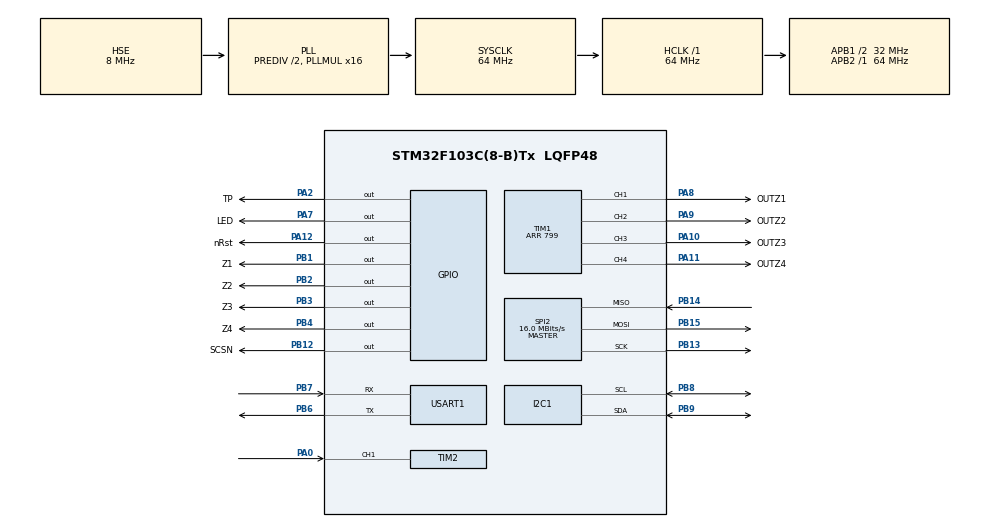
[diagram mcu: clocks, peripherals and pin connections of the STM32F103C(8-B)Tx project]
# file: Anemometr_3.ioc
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Mcu.Family=STM32F1
PA11.GPIO_Speed=GPIO_SPEED_FREQ_HIGH
SH.S_TIM1_CH4.0=TIM1_CH4,Output Compare4 CH4
VP_TIM1_VS_OPM.Mode=OPM_bit
TIM2.Channel-Input_Capture1_from_TI1=TIM_CHANNEL_1
SPI2.VirtualType=VM_MASTER
TIM1.RepetitionCounter=91
VP_TIM3_VS_OPM.Mode=OPM_bit
VP_IWDG_VS_IWDG.Mode=IWDG_Activate
PB15.Signal=SPI2_MOSI
PB13.Signal=SPI2_SCK
TIM4.TIM_MasterOutputTrigger=TIM_TRGO_UPDATE
RCC.SYSCLKSource=RCC_SYSCLKSOURCE_PLLCLK
ProjectManager.StackSize=0x400
PD1-OSC_OUT.Signal=RCC_OSC_OUT
VP_TIM2_VS_ClockSourceITR.Mode=TriggerSource_ITR2
TIM1.Channel-Output\ Compare2\ CH2=TIM_CHANNEL_2
PA12.Signal=GPIO_Output
SPI2.CLKPolarity=SPI_POLARITY_LOW
TIM2.ICPolarity_CH2=TIM_INPUTCHANNELPOLARITY_FALLING
RCC.HCLKFreq_Value=64000000
RCC.APB2TimFreq_Value=64000000
TIM3.Period=40000
PB6.Signal=USART1_TX
PB6.Mode=Asynchronous
TIM1.OC1Preload=ENABLE
RCC.AHBFreq_Value=64000000
SPI2.BaudRatePrescaler=SPI_BAUDRATEPRESCALER_2
PA12.PinState=GPIO_PIN_RESET
PB2.Signal=GPIO_Output
RCC.PLLMUL=RCC_PLL_MUL16
PB12.GPIO_Label=SCSN
PB14.Mode=Full_Duplex_Master
PB1.GPIO_Label=Z1
NVIC.TIM2_IRQn=true\:0\:0\:false\:false\:true\:true\:true
PA10.GPIO_Label=OUTZ3
SPI2.CalculateBaudRate=16.0 MBits/s
PB7.Signal=USART1_RX
PA8.Signal=S_TIM1_CH1
VP_TIM3_VS_ClockSourceITR.Mode=TriggerSource_ITR0
VP_TIM1_VS_ClockSourceINT.Mode=Internal
PB9.Signal=I2C1_SDA
Mcu.Package=LQFP48
PB1.Signal=GPIO_Output
SPI2.Mode=SPI_MODE_MASTER
TIM2.Channel-Input_Capture2_from_TI1=TIM_CHANNEL_2
RCC.EnbaleCSS=true
PA2.GPIO_Label=TP
PA10.Signal=S_TIM1_CH3
SPI2.CLKPhase=SPI_PHASE_1EDGE
PA10.GPIO_Speed=GPIO_SPEED_FREQ_HIGH
RCC.APB1TimFreq_Value=64000000
SPI2.Direction=SPI_DIRECTION_2LINES
TIM1.Period=799
PB13.Mode=Full_Duplex_Master
PA8.GPIO_Speed=GPIO_SPEED_FREQ_HIGH
VP_TIM3_VS_ClockSourceINT.Mode=Internal
TIM1.Channel-Output\ Compare3\ CH3=TIM_CHANNEL_3
PB4.Signal=GPIO_Output
PB3.GPIO_Label=Z3
RCC.PLLSourceVirtual=RCC_PLLSOURCE_HSE
TIM4.AutoReloadPreload=TIM_AUTORELOAD_PRELOAD_ENABLE
TIM3.Channel-Output\ Compare1\ No\ Output=TIM_CHANNEL_1
PD1-OSC_OUT.Mode=HSE-External-Oscillator
TIM1.OC4Preload=ENABLE
TIM3.AutoReloadPreload=TIM_AUTORELOAD_PRELOAD_ENABLE
TIM1.OCMode_4=TIM_OCMODE_TOGGLE
VP_TIM2_VS_ControllerModeReset.Mode=Reset Mode
TIM1.OCMode_3=TIM_OCMODE_TOGGLE
VP_TIM3_VS_ControllerModeTrigger.Mode=Trigger Mode
PA9.GPIO_Label=OUTZ2
TIM1.OCMode_2=TIM_OCMODE_TOGGLE
TIM1.OCMode_1=TIM_OCMODE_TOGGLE
TIM1.OC2Preload=ENABLE
PA11.GPIO_Label=OUTZ4
PD0-OSC_IN.Signal=RCC_OSC_IN
RCC.APB1CLKDivider=RCC_HCLK_DIV2
VP_SYS_VS_ND.Mode=No_Debug
PA12.GPIO_Label=nRst
PA0-WKUP.Signal=S_TIM2_CH1_ETR
TIM1.AutoReloadPreload=TIM_AUTORELOAD_PRELOAD_ENABLE
PA8.GPIO_Label=OUTZ1
SH.S_TIM1_CH1.0=TIM1_CH1,Output Compare1 CH1
ProjectManager.TargetToolchain=STM32CubeIDE
SPI2.CRCCalculation=SPI_CRCCALCULATION_DISABLE
PB9.Mode=I2C
PA9.Signal=S_TIM1_CH2
RCC.USBFreq_Value=64000000
TIM1.Channel-Output\ Compare4\ CH4=TIM_CHANNEL_4
TIM4.Prescaler=6
PD0-OSC_IN.Mode=HSE-External-Oscillator
PB14.Signal=SPI2_MISO
board=custom
VP_TIM3_VS_no_output1.Mode=Output Compare1 No Output
PB15.Mode=Full_Duplex_Master
NVIC.TIM3_IRQn=true\:0\:0\:false\:false\:true\:true\:true
TIM1.TIM_MasterOutputTrigger=TIM_TRGO_ENABLE
RCC.APB2Freq_Value=64000000
PB4.GPIO_Label=Z4
TIM3.OCMode_1=TIM_OCMODE_ACTIVE
SH.S_TIM1_CH2.0=TIM1_CH2,Output Compare2 CH2
VP_TIM2_VS_ClockSourceINT.Mode=Internal
Mcu.Name=STM32F103C(8-B)Tx
PA2.Signal=GPIO_Output
PB3.Signal=GPIO_Output
RCC.SYSCLKFreq_VALUE=64000000
PA7.GPIO_Label=LED
RCC.HSEDivPLL=RCC_HSE_PREDIV_DIV2
USART1.VirtualMode=VM_ASYNC
PB7.Mode=Asynchronous
SH.S_TIM2_CH1_ETR.1=TIM2_CH1,Input_Capture2_from_TI1
PA11.Signal=S_TIM1_CH4
SH.S_TIM2_CH1_ETR.0=TIM2_CH1,Input_Capture1_from_TI1
PB2.GPIO_Label=Z2
ProjectManager.HeapSize=0x200
TIM1.Channel-Output\ Compare1\ CH1=TIM_CHANNEL_1
SH.S_TIM1_CH3.0=TIM1_CH3,Output Compare3 CH3
VP_TIM4_VS_ClockSourceINT.Mode=Internal
NVIC.PriorityGroup=NVIC_PRIORITYGROUP_4
PB8.Mode=I2C
IWDG.Prescaler=IWDG_PRESCALER_256
PA9.GPIO_Speed=GPIO_SPEED_FREQ_HIGH
PB8.Signal=I2C1_SCL
TIM2.AutoReloadPreload=TIM_AUTORELOAD_PRELOAD_ENABLE
SPI2.DataSize=SPI_DATASIZE_8BIT
TIM3.TIM_MasterOutputTrigger=TIM_TRGO_OC1
NVIC.TIM4_IRQn=true\:0\:0\:false\:false\:true\:true\:true
RCC.APB1Freq_Value=32000000
PB12.Signal=GPIO_Output
TIM1.TIM_MasterSlaveMode=TIM_MASTERSLAVEMODE_DISABLE
PA7.Signal=GPIO_Output

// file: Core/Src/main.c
/* USER CODE BEGIN Header */
/**
  ******************************************************************************
  * @file           : main.c
  * @brief          : Main program body
  ******************************************************************************
  * @attention
  *
  * <h2><center>&copy; Copyright (c) 2022 STMicroelectronics.
  * All rights reserved.</center></h2>
  *
  * This software component is licensed by ST under BSD 3-Clause license,
  * the "License"; You may not use this file except in compliance with the
  * License. You may obtain a copy of the License at:
  *                        opensource.org/licenses/BSD-3-Clause
  *
  ******************************************************************************
  */
/* USER CODE END Header */
#include "main.h"

I2C_HandleTypeDef hi2c1;

IWDG_HandleTypeDef hiwdg;

SPI_HandleTypeDef hspi2;

TIM_HandleTypeDef htim1;
TIM_HandleTypeDef htim2;
TIM_HandleTypeDef htim3;
TIM_HandleTypeDef htim4;

UART_HandleTypeDef huart1;

/* USER CODE BEGIN PV */
HAL_StatusTypeDef	flash_ok;
char uart_buffer[10] = {0,};
char SndBuffer[200] = {0,};
wiz_NetInfo net_info = {
	.mac  = { MAC_ADDRESS },
	.dhcp = NETINFO_DHCP
};
uint32_t errCnt, errMin, errMax, err;
/* USER CODE END PV */

void SystemClock_Config(void);
static void MX_GPIO_Init(void);
static void MX_USART1_UART_Init(void);
static void MX_TIM1_Init(void);
static void MX_TIM4_Init(void);
static void MX_TIM3_Init(void);
static void MX_TIM2_Init(void);
static void MX_I2C1_Init(void);
static void MX_SPI2_Init(void);
static void MX_IWDG_Init(void);

/* USER CODE BEGIN 0 */
void rwFlash(uint8_t rwFlag) {
	uint32_t pageAdr = 0x800FC00; //.
	uint32_t magicKey;
	uint64_t dataForSave;
	magicKey = *(__IO uint32_t*) pageAdr;
	if ((magicKey != 0x12349876) || (rwFlag == 1)) { // rwFlag == 1 for wrtite data to flash
		magicKey = 0x12349876;
		if (rwFlag == 0) { // For first initial
			C_1 = CALIBRATE_START;
			C_3 = CALIBRATE_START;
			C_2 = CALIBRATE_START;
			C_4 = CALIBRATE_START;
			t0.f = 20.0;  /* Около комнатной температуры */
			DX1.f = 1;
			//DX2.f = 1;
			DY1.f = 1;
			//DY2.f = 1;
		}
		FLASH_EraseInitTypeDef EraseInitStruct;
		uint32_t PAGEError = 0;
		EraseInitStruct.TypeErase   = FLASH_TYPEERASE_PAGES;
		EraseInitStruct.PageAddress = pageAdr; //
		EraseInitStruct.NbPages     = 1;

		flash_ok = HAL_ERROR;
		// Unlock flash
		while(flash_ok != HAL_OK) {
		  flash_ok = HAL_FLASH_Unlock();
		}
		if (HAL_FLASHEx_Erase(&EraseInitStruct, &PAGEError) == HAL_OK) {
			dataForSave = (uint64_t) magicKey;
			flash_ok = HAL_ERROR;
			while(flash_ok != HAL_OK){
				flash_ok = HAL_FLASH_Program(FLASH_TYPEPROGRAM_DOUBLEWORD, pageAdr, dataForSave); // Write  magic key
			}
			dataForSave = (uint64_t) (C_1 | ((uint64_t) C_2 << 16) | ((uint64_t) C_3 << 32) | ((uint64_t) C_4 << 48));
			flash_ok = HAL_ERROR;
			while(flash_ok != HAL_OK){
				flash_ok = HAL_FLASH_Program(FLASH_TYPEPROGRAM_DOUBLEWORD, pageAdr + 16, dataForSave); // Write C_12 C_34 C_14 C_23
			}
			flash_ok = HAL_ERROR;
			while(flash_ok != HAL_OK){
				flash_ok = HAL_FLASH_Program(FLASH_TYPEPROGRAM_WORD, pageAdr + 24, DX1.u); // Write DX1
			}
			//flash_ok = HAL_ERROR;
			//while(flash_ok != HAL_OK){
			//	flash_ok = HAL_FLASH_Program(FLASH_TYPEPROGRAM_WORD, pageAdr + 28, DX2.u); // Write DX2
			//}
			flash_ok = HAL_ERROR;
			while(flash_ok != HAL_OK){
				flash_ok = HAL_FLASH_Program(FLASH_TYPEPROGRAM_WORD, pageAdr + 32, DY1.u); // Write DY1
			}
			flash_ok = HAL_ERROR;
			while(flash_ok != HAL_OK){
				flash_ok = HAL_FLASH_Program(FLASH_TYPEPROGRAM_WORD, pageAdr + 36, t0.u); // Сохраним температуру калибровки
			}
		}
		// Lock flash
		flash_ok = HAL_ERROR;
		while(flash_ok != HAL_OK){
			flash_ok = HAL_FLASH_Lock();
		}
	} else {
		/* Задержки измерения в каналах */
		C_1 = *(__IO uint16_t*) (pageAdr + 16);
		C_2 = *(__IO uint16_t*) (pageAdr + 18);
		C_3 = *(__IO uint16_t*) (pageAdr + 20);
		C_4 = *(__IO uint16_t*) (pageAdr + 22);
		/* Значения для температурной калибровки */
		C_Y = C_3;
		C_X = C_4;
		memset(SndBuffer, 0, sizeof(SndBuffer));
		sprintf(SndBuffer, "C_1: %5d, C_2: %5d, C_3: %5d, C_4: %5d  \r\n", C_1, C_2, C_3, C_4);
		HAL_UART_Transmit(&huart1, (uint8_t *) SndBuffer, sizeof(SndBuffer), 1000);

		/* Поправочные коэффициенты */
		DX1.u = *(__IO uint32_t*) (pageAdr + 24);
		//DX2.u = *(__IO uint32_t*) (pageAdr + 28);
		DY1.u = *(__IO uint32_t*) (pageAdr + 32);
		memset(SndBuffer, 0, sizeof(SndBuffer));
		sprintf(SndBuffer, "DX1: %7.6f, DY1: %7.6f \r\n", DX1.f, DY1.f);
		HAL_UART_Transmit(&huart1, (uint8_t *) SndBuffer, sizeof(SndBuffer), 1000);
		t0.u = *(__IO uint32_t*) (pageAdr + 36);	// Восстановим температуру калибровки
		if (t0.u == 0xffffffff) {  // Начальная температура не определена.
			t0.f = 20.0;
		}
		memset(SndBuffer, 0, sizeof(SndBuffer));
		sprintf(SndBuffer, "T0: %5.2f \r\n", t0.f);
		HAL_UART_Transmit(&huart1, (uint8_t *) SndBuffer, sizeof(SndBuffer), 1000);
	}
}

#ifdef ZABBIX_ENABLE

#ifdef ZABBIX_DEBUG
void UART_Printf(const char* fmt, ...) {
	char buff[256];
	va_list args;
	va_start(args, fmt);
	vsnprintf(buff, sizeof(buff), fmt, args);
	HAL_UART_Transmit(&huart1, (uint8_t*) buff, strlen(buff), HAL_MAX_DELAY);
	va_end(args);
}
#endif

void W5500_Select(void) {
	HAL_GPIO_WritePin(SCSN_GPIO_Port, SCSN_Pin, GPIO_PIN_RESET);
}

void W5500_Unselect(void) {
	HAL_GPIO_WritePin(SCSN_GPIO_Port, SCSN_Pin, GPIO_PIN_SET);
}

void W5500_ReadBuff(uint8_t* buff, uint16_t len) {
	HAL_SPI_Receive(&hspi2, buff, len, HAL_MAX_DELAY);
}

void W5500_WriteBuff(uint8_t* buff, uint16_t len) {
	HAL_SPI_Transmit(&hspi2, buff, len, HAL_MAX_DELAY);
}

uint8_t W5500_ReadByte(void) {
	uint8_t byte;
	W5500_ReadBuff(&byte, sizeof(byte));
	return byte;
}

void W5500_WriteByte(uint8_t byte) {
	W5500_WriteBuff(&byte, sizeof(byte));
}

volatile bool ip_assigned = false;

void Callback_IPAssigned(void) {
#ifdef ZABBIX_DEBUG
	UART_Printf("Callback: IP assigned! Leased time: %d sec\r\n", getDHCPLeasetime());
#endif
    ip_assigned = true;
}

void Callback_IPConflict(void) {
#ifdef ZABBIX_DEBUG
    UART_Printf("Callback: IP conflict!\r\n");
#endif
}

// 1K should be enough, see https://forum.wiznet.io/t/topic/1612/2
uint8_t dhcp_buffer[1024];
// 1K seems to be enough for this buffer as well
//uint8_t dns_buffer[1024];

/*
 * addr -- IP address zabbix server, dhcp option 224.
 * Settings for isc-dhcp-server:
 * 		option zabbix-server-ip code 224 = ip-address ;
 * 		option zabix-host-name code 225 = string ;
 * 		host anemometr {
 *      	hardware ethernet 00:11:22:33:44:xx;
 *      	fixed-address 192.168.1.24;
 *       	option zabbix-server-ip 192.168.1.6;
 *       	option zabix-host-name "Ed";
 * 		}
 *
 * key -- Zabbix key: {ALTIM_DIRECT, ALTIM_SPEED}
 *
 * value -- Float value of key.
*/
uint8_t sendToZabbix(uint8_t * addr, char * host, char * key, float value) {
#ifdef ZABBIX_DEBUG
    UART_Printf("Creating socket...\r\n");
#endif
    uint8_t tcp_socket = TCP_SOCKET;
    uint8_t code = socket(tcp_socket, Sn_MR_TCP, 10888, 0);
    if(code != tcp_socket) {
    	eternetErrorCount++;
	#ifdef ZABBIX_DEBUG
        UART_Printf("socket() failed, code = %d\r\n", code);
	#endif
        return(-1);
    } else {
    	eternetErrorCount = 0;
    }
#ifdef ZABBIX_DEBUG
    UART_Printf("Socket created, connecting...\r\n");
#endif
    code = connect(tcp_socket, addr, ZABBIXPORT);
    if(code != SOCK_OK) {
    	eternetErrorCount++;
	#ifdef ZABBIX_DEBUG
        UART_Printf("connect() failed, code = %d\r\n", code);
	#endif
        close(tcp_socket);
        return(-2);
    } else {
    	eternetErrorCount = 0;
    }
#ifdef ZABBIX_DEBUG
    UART_Printf("Connected, sending ZABBIX request...\r\n");
#endif
    {
    	char req[ZABBIXMAXLEN];
    	char str[ZABBIXMAXLEN - 13];
    	sprintf(str, "{\"request\":\"sender data\",\"data\":[{\"host\":\"%.20s\",\"key\":\"%s\",\"value\":\"%f\"}]}", host, key, value);
    	req[0] = 'Z';
    	req[1] = 'B';
		req[2] = 'X';
		req[3] = 'D';
		req[4] = 0x01;
		req[5] = strlen(str);
		req[6] = 0;
		req[7] = 0;
		req[8] = 0;
		req[9] = 0;
		req[10] = 0;
		req[11] = 0;
		req[12] = 0;
		strcpy(req + 13, str);
        //char req[] = "ZBXD\1\0\0\0\0\0\0\0\0{\"request\":\"sender data\",\"data\":[{\"host\":\"Ed\",\"key\":\"ALTIM_DIRECT\",\"value\":\"10\"}]}";
        uint8_t len = req[5] + 13;
        uint8_t* buff = (uint8_t*)&req;
        while(len > 0) {
		#ifdef ZABBIX_DEBUG
            UART_Printf("Sending %d bytes, data length %d bytes...\r\n", len, req[5]);
		#endif
            int32_t nbytes = send(tcp_socket, buff, len);
            if(nbytes <= 0) {
            	eternetErrorCount++;
			#ifdef ZABBIX_DEBUG
                UART_Printf("send() failed, %d returned\r\n", nbytes);
			#endif
                close(tcp_socket);
                return(-3);
            } else {
            	eternetErrorCount = 0;
            }
			#ifdef ZABBIX_DEBUG
            UART_Printf("%d b sent!\r\n", nbytes);
			#endif
            len -= nbytes;
        }
    }
    /* Read data from Zabbix */
	#ifdef ZABBIX_DEBUG
		UART_Printf("Read.\r\n");
		{
			char buff[32];
			for(;;) {
				int32_t nbytes = recv(tcp_socket, (uint8_t*)&buff, sizeof(buff)-1);
				if(nbytes == SOCKERR_SOCKSTATUS) {
					UART_Printf("\r\nDisconnect.\r\n");
					break;
				}

				if(nbytes <= 0) {
					UART_Printf("\r\nrecv() failed, %d\r\n", nbytes);
					break;
				}

				buff[nbytes] = '\0';
				UART_Printf("%s", buff);
			}
		}

		UART_Printf("Closing socket.\r\n");
	#endif
    close(tcp_socket);
    return(0);
}

void init_w5500() {
	#ifdef ZABBIX_DEBUG
    UART_Printf("\r\ninit() called!\r\n");
    UART_Printf("Registering W5500 callbacks...\r\n");
	#endif
    reg_wizchip_cs_cbfunc(W5500_Select, W5500_Unselect);
    reg_wizchip_spi_cbfunc(W5500_ReadByte, W5500_WriteByte);
    reg_wizchip_spiburst_cbfunc(W5500_ReadBuff, W5500_WriteBuff);
	#ifdef ZABBIX_DEBUG
    UART_Printf("Calling wizchip_init()...\r\n");
	#endif
    uint8_t rx_tx_buff_sizes[] = {2, 2, 2, 2, 2, 2, 2, 2};
    wizchip_init(rx_tx_buff_sizes, rx_tx_buff_sizes);
	#ifdef ZABBIX_DEBUG
    UART_Printf("Calling DHCP_init()...\r\n");
	#endif

    // set MAC address before using DHCP
    setSHAR(net_info.mac);
    DHCP_init(DHCP_SOCKET, dhcp_buffer);
	#ifdef ZABBIX_DEBUG
    UART_Printf("Registering DHCP callbacks...\r\n");
	#endif
    reg_dhcp_cbfunc(
        Callback_IPAssigned,
        Callback_IPAssigned,
        Callback_IPConflict
    );
	#ifdef ZABBIX_DEBUG
    UART_Printf("Calling DHCP_run()...\r\n");
	#endif
    // actually should be called in a loop, e.g. by timer
    uint32_t ctr = DHCP_TRY_CNT;
    while((!ip_assigned) && (ctr > 0)) {
        DHCP_run();
        ctr--;
        HAL_Delay(100);
        HAL_IWDG_Refresh(&hiwdg);
    }
    if(!ip_assigned) {
		#ifdef ZABBIX_DEBUG
        UART_Printf(DHCP_ERROR_ASSIGN);
		#endif
        NVIC_SystemReset();
        return;
    }

    getIPfromDHCP(net_info.ip);
    getGWfromDHCP(net_info.gw);
    getSNfromDHCP(net_info.sn);
    getZABBIXfromDHCP(net_info.zabbix);
    getHostNamefromDHCP(net_info.hostname);
    if (net_info.hostname[0] == '\0') {
    	sprintf(ZabbixHostName, "%s", ZABBIXAGHOST);
    } else {
    	sprintf(ZabbixHostName, "%s", net_info.hostname);
    }

    //uint8_t dns[4];
    //getDNSfromDHCP(dns);
	#ifdef ZABBIX_DEBUG
    UART_Printf("IP:  %d.%d.%d.%d\r\nGW:  %d.%d.%d.%d\r\nNet: %d.%d.%d.%d\r\nZabbix: %d.%d.%d.%d\r\nHostName:%s\r\n",
        net_info.ip[0], net_info.ip[1], net_info.ip[2], net_info.ip[3],
        net_info.gw[0], net_info.gw[1], net_info.gw[2], net_info.gw[3],
        net_info.sn[0], net_info.sn[1], net_info.sn[2], net_info.sn[3],
        net_info.zabbix[0], net_info.zabbix[1], net_info.zabbix[2], net_info.zabbix[3],
		ZabbixHostName
    );
    UART_Printf("Calling wizchip_setnetinfo()...\r\n");
	#endif
    wizchip_setnetinfo(&net_info);

}
#endif
/* USER CODE END 0 */

int main(void)
{

  /* MCU Configuration--------------------------------------------------------*/

  /* Reset of all peripherals, Initializes the Flash interface and the Systick. */
  HAL_Init();

  /* USER CODE BEGIN Init */
	sprintf(SndBuffer, "\r\nLow power: %s, WWD: %s, IWD: %s, Soft: %s, Pin: %s, Power: %s\r\n",
			(__HAL_RCC_GET_FLAG(RCC_FLAG_LPWRRST)) ? "Yes" : "No",
			(__HAL_RCC_GET_FLAG(RCC_FLAG_WWDGRST)) ? "Yes" : "No",
			(__HAL_RCC_GET_FLAG(RCC_FLAG_IWDGRST)) ? "Yes" : "No",
			(__HAL_RCC_GET_FLAG(RCC_FLAG_SFTRST)) ? "Yes" : "No",
			(__HAL_RCC_GET_FLAG(RCC_FLAG_PINRST)) ? "Yes" : "No",
			(__HAL_RCC_GET_FLAG(RCC_FLAG_PORRST)) ? "Yes" : "No");

  /* USER CODE END Init */

  /* Configure the system clock */
  SystemClock_Config();

  /* Initialize all configured peripherals */
  MX_GPIO_Init();
  MX_USART1_UART_Init();
  MX_TIM1_Init();
  MX_TIM4_Init();
  MX_TIM3_Init();
  MX_TIM2_Init();
  MX_I2C1_Init();
  MX_SPI2_Init();
  MX_IWDG_Init();
  /* USER CODE BEGIN 2 */
  HAL_GPIO_WritePin(LED_GPIO_Port, LED_Pin, GPIO_PIN_SET);
  readyFlag = TRUE;
  //sumCounter2 = 0;
  HAL_UART_Transmit(&huart1, (uint8_t *) SndBuffer, sizeof(SndBuffer), HAL_MAX_DELAY);
  HAL_UART_Transmit(&huart1, (uint8_t *) INIT_START_TEXT, sizeof(INIT_START_TEXT), HAL_MAX_DELAY);
#ifdef ZABBIX_ENABLE
  HAL_GPIO_WritePin(nRst_GPIO_Port, nRst_Pin, GPIO_PIN_RESET);	// Reset W5500
  HAL_GPIO_WritePin(nRst_GPIO_Port, nRst_Pin, GPIO_PIN_SET);
  HAL_GPIO_WritePin(SCSN_GPIO_Port, SCSN_Pin, GPIO_PIN_SET);
  HAL_UART_Transmit(&huart1, (uint8_t *) WAIT_W5500, sizeof(WAIT_W5500), HAL_MAX_DELAY);
  HAL_Delay(2000);
  init_w5500();
  HAL_UART_Transmit(&huart1, (uint8_t *) OK, sizeof(OK), HAL_MAX_DELAY);
  eternetErrorCount = 0;
#else
  HAL_GPIO_WritePin(nRst_GPIO_Port, nRst_Pin, GPIO_PIN_RESET);	// Reset W5500
#endif
#ifdef BME280_ENABLE
	  HAL_UART_Transmit(&huart1, (uint8_t *) WAIT_BME280, sizeof(WAIT_BME280), HAL_MAX_DELAY);
  BME280_Init();
  HAL_UART_Transmit(&huart1, (uint8_t *) OK, sizeof(OK), HAL_MAX_DELAY);
#endif

  rwFlash(0);		// Чтение параметров калибровки из Flash.

  /* Таймер задержки запуска измерения */
  receiversOff
  //C_13 = CALIBRATE_START;
  if (C_1 == 0) {
	  C_1 = CALIBRATE_START;
  }
  if (C_2 == 0) {
	  C_2 = CALIBRATE_START;
  }
  if (C_3 == 0) {
	  C_3 = CALIBRATE_START;
  }
  if (C_4 == 0) {
	  C_4 = CALIBRATE_START;
  }
  TIM3->ARR = C_3; 		// Коррекция для таймера запуска измерения Z13
  /*
   * calibrateMode == 0 -- Нормальный режим
   * calibrateMode > 0 -- Режим калибровки
   */
  calibrateMode = 0;
  test_flag = FALSE;
  Xsum = 0;
  Ysum = 0;
  Vmax = 0;
  firstTime = TRUE;
  currentMode = 0;
  STOP_CAPTURE
  TIM1->ARR = TIM1_PERIOD - 1;
  measCount = 0;
  /*
   *	Очистка массива результатов.
   */
  for (int ii = 0; ii < MEASSURE_COUNT; ii++) {
	  resul_arrayX1[ii] = 0;
	  resul_arrayY1[ii] = 0;
	  resul_arrayX2[ii] = 0;
	  resul_arrayY2[ii] = 0;
  }
  calibrate1 = FALSE;
  calibrate3 = FALSE;
  calibrate2 = FALSE;
  calibrate4 = FALSE;

  HAL_UART_Transmit(&huart1, (uint8_t *) INIT_FINISH_TEXT, sizeof(INIT_FINISH_TEXT), HAL_MAX_DELAY);

  HAL_TIM_Base_Start_IT(&htim3);
  HAL_TIM_Base_Start_IT(&htim4);
  /* USER CODE END 2 */

  /* Infinite loop */
  /* USER CODE BEGIN WHILE */
  V = 0;
  Xsum = 0;
  Ysum = 0;
  Vmaxfin = 0;
  Xmaxfin = 0;
  Ymaxfin = 0;
  HAL_GPIO_WritePin(LED_GPIO_Port, LED_Pin, GPIO_PIN_RESET);
  while (1) {
	  if (readyFlag) {
		  SysTick->CTRL |= SysTick_CTRL_ENABLE_Msk;  // Включение SysTick
		  HAL_IWDG_Refresh(&hiwdg);
		  readyFlag = FALSE;
		  if (calibrateMode > 0) {
			  /* Процедура калибровки */
			  if (( calibrate1 || /*calibrate3 ||*/ calibrate2 /*|| calibrate4*/ ) && (calibrateCount < CALIBRATE_MAX_COUNT)) {
				  memset(SndBuffer, 0, sizeof(SndBuffer));
				  if (test_flag) {
					  sprintf(SndBuffer, "Z13(%4.0f)-Z31(%4.0f):%5.0f, Z42(%4.0f)-Z24(%4.0f):%5.0f   \r",
							  resul_arrayY1[0], resul_arrayY2[0], resul_arrayY1[0] - resul_arrayY2[0] * DY1.f,
							  resul_arrayX1[0], resul_arrayX2[0], resul_arrayX1[0] - resul_arrayX2[0] * DX1.f);
				  } else {
					  sprintf(SndBuffer, "Z13:%5.0f, Z31:%5.0f, Z42:%5.0f, Z24:%5.0f   \r",
							  resul_arrayY1[0], resul_arrayY2[0], resul_arrayX1[0], resul_arrayX2[0]);
				  }
				  HAL_UART_Transmit(&huart1, (uint8_t *) SndBuffer, sizeof(SndBuffer), 1000);
				  if (! test_flag) {
					  /* Y1 */
					  if ( calibrate1 && (abs(resul_arrayY1[0] + resul_arrayY2[0] - (float) CALIBRATE_MAX_COUNT) > CALIBRATE_ACURACY) ) {
						  if (resul_arrayY1[0] + resul_arrayY2[0] > (float) CALIBRATE_MAX_COUNT) {
							  C_3++;
						  } else {
							  C_3--;
						  }
					  } else {
						  calibrate1 = FALSE;	// Закончена калибровка таймера запуска измерения в канале Y1
					  }
					  /* Y2 */
					  /*
					  if ( calibrate3 && (abs(resul_arrayY2[0] - (float) TIM1_PERIOD) > CALIBRATE_ACURACY) ) {
						  if (resul_arrayY2[0] > (float) TIM1_PERIOD) {
							  C_1++;
						  } else {
							  C_1--;
						  }
					  } else {
						  calibrate3 = FALSE;	// Закончена калибровка таймера запуска измерения в канале Y1
					  } */
					  /* X1 */
					  if ( calibrate2 && (abs(resul_arrayX1[0] + resul_arrayX2[0] - (float) CALIBRATE_MAX_COUNT) > CALIBRATE_ACURACY) ) {
						  if (resul_arrayX1[0] + resul_arrayX2[0] > (float) CALIBRATE_MAX_COUNT) {
							  C_4++;
						  } else {
							  C_4--;
						  }
					  } else {
						  calibrate2 = FALSE;	// Закончена калибровка таймера запуска измерения в канале Y2
					  }
					  /* X2 */
					  /*
					  if ( calibrate4 && (abs(resul_arrayX2[0] - (float) TIM1_PERIOD) > CALIBRATE_ACURACY) ) {
						  if (resul_arrayX2[0] > (float) TIM1_PERIOD) {
							  C_2++;
						  } else {
							  C_2--;
						  }
					  } else {
						  calibrate4 = FALSE;	// Закончена калибровка таймера запуска измерения в канале Y2
					  }*/
					  calibrateCount++;
				  }
				#ifdef SYSTICK_DISABLE
				  SysTick->CTRL &= ~SysTick_CTRL_ENABLE_Msk;  // Выключение SysTick
				#endif
				  HAL_TIM_Base_Start_IT(&htim4);  // Перезапуск для начала измерений
			  } else {
				  if (calibrateCount >= CALIBRATE_MAX_COUNT) {
					  HAL_UART_Transmit(&huart1, (uint8_t *) CALIBRATE_ERROR_TOUT, sizeof(CALIBRATE_ERROR_TOUT), 1000);
					  /* System restart if calibrate error. */
					  HAL_NVIC_SystemReset();
				  }
				  if (calibrateMode > 0) {
					  ZX1 = ZX1 + (float) resul_arrayX1[0];
					  ZX2 = ZX2 + (float) resul_arrayX2[0];
					  ZY1 = ZY1 + (float) resul_arrayY1[0];
					  ZY2 = ZY2 + (float) resul_arrayY2[0];
					  calibrateMode--;
					  if (calibrateMode == 0) {
						  /* Вычисление поправок */
						  DX1.f = ZX1 / ZX2;
						  DY1.f = ZY1 / ZY2;
						  if (abs(DX1.f) < 2 && abs(DY1.f) < 2) {
							#if defined(TMP117_ENABLE) || defined(BME280_ENABLE)
							  t0.f = temperature;
							#else
							  t0.f = 20.0;
							#endif
							  rwFlash(1);  // Запись данных калибровки во Flash.
							  /* Значения смещения для температурной калибровки */
							  C_Y = C_3;
							  C_X = C_4;
							  memset(SndBuffer, 0, sizeof(SndBuffer));
							  sprintf(SndBuffer, "\r\nCalibrate complite.\r\nC_1:%5d, C_3:%5d, C_2:%5d, C_4:%5d\r\n", C_1, C_3, C_2, C_4);
							  HAL_UART_Transmit(&huart1, (uint8_t *) SndBuffer, sizeof(SndBuffer), 1000);
							  memset(SndBuffer, 0, sizeof(SndBuffer));
							  sprintf(SndBuffer, "DY1:%5.4f, DX1:%5.4f\r\n", DY1.f, DX1.f);
							  HAL_UART_Transmit(&huart1, (uint8_t *) SndBuffer, sizeof(SndBuffer), 1000);
							  memset(SndBuffer, 0, sizeof(SndBuffer));
							  sprintf(SndBuffer, "T0:%5.2f \r\n\r\n", t0.f);
							  HAL_UART_Transmit(&huart1, (uint8_t *) SndBuffer, sizeof(SndBuffer), 1000);
						  } else {
							  HAL_UART_Transmit(&huart1, (uint8_t *) CALIBRATE_ERROR_RANGE, sizeof(CALIBRATE_ERROR_RANGE), 1000);
						  }
						  calibrateCount = 0;
						  firstTime = TRUE;
					  }
				  }
				#ifdef SYSTICK_DISABLE
				  SysTick->CTRL &= ~SysTick_CTRL_ENABLE_Msk;  // Выключение SysTick
				#endif
				  HAL_TIM_Base_Start_IT(&htim4);  // Перезапуск для начала измерений
			  }
		  } else {
			#ifdef TMP117_ENABLE
			  temperature = TMP117_get_Temperature(hi2c1);
			#endif
			#ifdef BME280_ENABLE
			  temperature = BME280_ReadTemperature();
			  pressure = BME280_ReadPressure() * 0.00750063755419211f; //0.00750063755419211
			  humidity = BME280_ReadHumidity();
			#endif
			  /*
			  memset(SndBuffer, 0, sizeof(SndBuffer));
			  for (int iii = 0; iii < MEASSURE_COUNT; iii++) {
				  sprintf(SndBuffer, "X3:%5.2f, X4:%5.2f                 \r\n", resul_arrayX3[iii], resul_arrayX4[iii]);
				  HAL_UART_Transmit(&huart1, (uint8_t *) SndBuffer, sizeof(SndBuffer), 1000);
			  }*/
				#if defined(TMP117_ENABLE) || defined(BME280_ENABLE)
			  	  if ((temperature < 60.0) && (temperature > -40.0)) {
					#ifdef ZABBIX_ENABLE
			  		  sendToZabbix(net_info.zabbix, ZabbixHostName, "ALTIM_TEMPERATURE", temperature);
					#ifdef BME280_ENABLE
					  sendToZabbix(net_info.zabbix, ZabbixHostName, "ALTIM_PRESSURE", pressure);
					  sendToZabbix(net_info.zabbix, ZabbixHostName, "ALTIM_HUMIDITY", humidity);
					#endif
					#endif
			  	  } else {
					#ifdef BME280_ENABLE
			  		HAL_I2C_DeInit(&hi2c1);
			  		MX_I2C1_Init();
			  		BME280_Init();  // Сбой датчика bme280, пробуем исправить.
					#endif
			  	  }
				#endif
			  if (! firstTime) {
				#ifdef ZABBIX_ENABLE
				  if (eternetErrorCount > MAX_ETH_ERROR) {
					  HAL_NVIC_SystemReset(); /* Eternet не отвечает, перезапуск */
				  }
				  if ( V != 0 ) {
					  if ((V < MAX_SPD) && (Vmaxfin < MAX_SPD) ) {  // Первый раз пропускаем для инициализации переменных.
						  sendToZabbix(net_info.zabbix, ZabbixHostName, "ALTIM_SPEED", V);
						  sendToZabbix(net_info.zabbix, ZabbixHostName, "ALTIM_DIRECT", A);
						  sendToZabbix(net_info.zabbix, ZabbixHostName, "ALTIM_MAXSPEED", Vmaxfin);
					  }
				  } else {
					  if ((Vmaxfin < MAX_SPD) ) {
						  sendToZabbix(net_info.zabbix, ZabbixHostName, "ALTIM_SPEED", 0);
						  sendToZabbix(net_info.zabbix, ZabbixHostName, "ALTIM_MAXSPEED", Vmaxfin);
					  }
				  }
				  /* Мониторинг исходных значений */
				#ifdef ZABBIX_RAW_DATA
				  sendToZabbix(net_info.zabbix, ZabbixHostName, "X1", avg_X1);
				  sendToZabbix(net_info.zabbix, ZabbixHostName, "X2", avg_X2);
				  sendToZabbix(net_info.zabbix, ZabbixHostName, "Y1", avg_Y1);
				  sendToZabbix(net_info.zabbix, ZabbixHostName, "Y2", avg_Y2);
				  sendToZabbix(net_info.zabbix, ZabbixHostName, "CX", C_4 - C_X);
				  sendToZabbix(net_info.zabbix, ZabbixHostName, "CY", C_3 - C_Y);
				#endif
				#endif
				  sprintf(SndBuffer, "V:%5.2f, X:%5.2f, Y:%5.2f, Vmax:%5.2f, Xmax:%5.2f, Ymax:%5.2f, A:%3.0f, T:%5.2f, P:%8.3f, H:%5.2f, X1:%4.0f, X2:%4.0f, Y1:%4.0f, Y2:%4.0f, CX:%4d, CY:%4d   \r",
						  V, Xsum, Ysum, Vmaxfin, Xmaxfin, Ymaxfin, A, temperature, pressure, humidity, avg_X1, avg_X2, avg_Y1, avg_Y2, C_4 - C_X, C_3 - C_Y);
				  HAL_UART_Transmit(&huart1, (uint8_t *) SndBuffer, sizeof(SndBuffer), 1000);
			  }
			  firstTime = FALSE;
				#ifdef SYSTICK_DISABLE
				  SysTick->CTRL &= ~SysTick_CTRL_ENABLE_Msk;  // Выключение SysTick
				#endif
			  HAL_TIM_Base_Start_IT(&htim4);  // Перезапуск для начала измерений
		  }
	  }

	  /*
	   * Подготовка запуска процедуры калибровки
	   */
	  if(HAL_UART_Receive(&huart1, (uint8_t *) uart_buffer, 1, 10) ) {
		  if (uart_buffer[0] == 'c' ) {  // Клавиша c нажата ?
			  HAL_UART_Transmit(&huart1, (uint8_t *) CALIBRATE_TEXT, sizeof(CALIBRATE_TEXT), 1000);
			  HAL_TIM_Base_Stop_IT(&htim4); // Остановим измерения
			  STOP_CAPTURE
			  memset(SndBuffer, 0, sizeof(SndBuffer));
			  calibrate1 = TRUE;
			  calibrate3 = TRUE;
			  calibrate2 = TRUE;
			  calibrate4 = TRUE;
			  test_flag = FALSE;
			  calibrateCount = 0;
			  C_1 = CALIBRATE_START;
			  C_3 = CALIBRATE_START;
			  C_2 = CALIBRATE_START;
			  C_4 = CALIBRATE_START;
			  ZX1 = 0;
			  ZX2 = 0;
			  ZY1 = 0;
			  ZY2 = 0;
			  DX1.f = 0;
			  DY1.f = 0;
			  test_cnt = 0;
			  calibrateMode = MEASSURE_COUNT * CALIBRATE_TIMES;
			  currentMode = 0;
			  measCount = 0;
			  HAL_TIM_Base_Start_IT(&htim4); // Запуск измерения
		  } else {
			  if (uart_buffer[0] == 't' ) {		// Test
				  HAL_TIM_Base_Stop_IT(&htim4); // Остановим измерения
				  STOP_CAPTURE
				  HAL_UART_Transmit(&huart1, (uint8_t *) TEST_TEXT, sizeof(TEST_TEXT), 1000);
				  calibrateMode = 1;
				  calibrateCount = 0;
				  test_flag = TRUE;
				  calibrate1 = TRUE;
				  calibrate3 = TRUE;
				  calibrate2 = TRUE;
				  calibrate4 = TRUE;
				  measCount = 0;
				  HAL_TIM_Base_Start_IT(&htim4); // Запуск измерения
			  } else {
				  if (uart_buffer[0] == 'r' ) {		// Terminate calibration && test
					  HAL_TIM_Base_Stop_IT(&htim4); // Остановим измерения
					  STOP_CAPTURE
					  HAL_UART_Transmit(&huart1, (uint8_t *) TEST_TERMINATE, sizeof(TEST_TERMINATE), 1000);
					  test_flag = 0;
					  calibrate1 = TRUE;
					  calibrate3 = TRUE;
					  calibrate2 = TRUE;
					  calibrate4 = TRUE;
					  calibrateMode = 0;
					  calibrateCount = 0;
					  measCount = 0;
					  rwFlash(0);		// Чтение параметров калибровки из Flash.
					  HAL_TIM_Base_Start_IT(&htim4); // Запуск измерения
				  }
			  }
		  }
		  uart_buffer[0] = 0x00;
	  }

    /* USER CODE END WHILE */

  }
}

void SystemClock_Config(void)
{
  RCC_OscInitTypeDef RCC_OscInitStruct = {0};
  RCC_ClkInitTypeDef RCC_ClkInitStruct = {0};

  /** Initializes the RCC Oscillators according to the specified parameters
  * in the RCC_OscInitTypeDef structure.
  */
  RCC_OscInitStruct.OscillatorType = RCC_OSCILLATORTYPE_LSI|RCC_OSCILLATORTYPE_HSE;
  RCC_OscInitStruct.HSEState = RCC_HSE_ON;
  RCC_OscInitStruct.HSEPredivValue = RCC_HSE_PREDIV_DIV2;
  RCC_OscInitStruct.HSIState = RCC_HSI_ON;
  RCC_OscInitStruct.LSIState = RCC_LSI_ON;
  RCC_OscInitStruct.PLL.PLLState = RCC_PLL_ON;
  RCC_OscInitStruct.PLL.PLLSource = RCC_PLLSOURCE_HSE;
  RCC_OscInitStruct.PLL.PLLMUL = RCC_PLL_MUL16;
  if (HAL_RCC_OscConfig(&RCC_OscInitStruct) != HAL_OK)
  {
    Error_Handler();
  }
  /** Initializes the CPU, AHB and APB buses clocks
  */
  RCC_ClkInitStruct.ClockType = RCC_CLOCKTYPE_HCLK|RCC_CLOCKTYPE_SYSCLK
                              |RCC_CLOCKTYPE_PCLK1|RCC_CLOCKTYPE_PCLK2;
  RCC_ClkInitStruct.SYSCLKSource = RCC_SYSCLKSOURCE_PLLCLK;
  RCC_ClkInitStruct.AHBCLKDivider = RCC_SYSCLK_DIV1;
  RCC_ClkInitStruct.APB1CLKDivider = RCC_HCLK_DIV2;
  RCC_ClkInitStruct.APB2CLKDivider = RCC_HCLK_DIV1;

  if (HAL_RCC_ClockConfig(&RCC_ClkInitStruct, FLASH_LATENCY_2) != HAL_OK)
  {
    Error_Handler();
  }
  /** Enables the Clock Security System
  */
  HAL_RCC_EnableCSS();
}

static void MX_I2C1_Init(void)
{

  hi2c1.Instance = I2C1;
  hi2c1.Init.ClockSpeed = 100000;
  hi2c1.Init.DutyCycle = I2C_DUTYCYCLE_2;
  hi2c1.Init.OwnAddress1 = 0;
  hi2c1.Init.AddressingMode = I2C_ADDRESSINGMODE_7BIT;
  hi2c1.Init.DualAddressMode = I2C_DUALADDRESS_DISABLE;
  hi2c1.Init.OwnAddress2 = 0;
  hi2c1.Init.GeneralCallMode = I2C_GENERALCALL_DISABLE;
  hi2c1.Init.NoStretchMode = I2C_NOSTRETCH_DISABLE;
  if (HAL_I2C_Init(&hi2c1) != HAL_OK)
  {
    Error_Handler();
  }

}

static void MX_IWDG_Init(void)
{

  hiwdg.Instance = IWDG;
  hiwdg.Init.Prescaler = IWDG_PRESCALER_256;
  hiwdg.Init.Reload = 4095;
  if (HAL_IWDG_Init(&hiwdg) != HAL_OK)
  {
    Error_Handler();
  }

}

static void MX_SPI2_Init(void)
{

  /* SPI2 parameter configuration*/
  hspi2.Instance = SPI2;
  hspi2.Init.Mode = SPI_MODE_MASTER;
  hspi2.Init.Direction = SPI_DIRECTION_2LINES;
  hspi2.Init.DataSize = SPI_DATASIZE_8BIT;
  hspi2.Init.CLKPolarity = SPI_POLARITY_LOW;
  hspi2.Init.CLKPhase = SPI_PHASE_1EDGE;
  hspi2.Init.NSS = SPI_NSS_SOFT;
  hspi2.Init.BaudRatePrescaler = SPI_BAUDRATEPRESCALER_2;
  hspi2.Init.FirstBit = SPI_FIRSTBIT_MSB;
  hspi2.Init.TIMode = SPI_TIMODE_DISABLE;
  hspi2.Init.CRCCalculation = SPI_CRCCALCULATION_DISABLE;
  hspi2.Init.CRCPolynomial = 10;
  if (HAL_SPI_Init(&hspi2) != HAL_OK)
  {
    Error_Handler();
  }

}

static void MX_TIM1_Init(void)
{

  TIM_ClockConfigTypeDef sClockSourceConfig = {0};
  TIM_MasterConfigTypeDef sMasterConfig = {0};
  TIM_OC_InitTypeDef sConfigOC = {0};
  TIM_BreakDeadTimeConfigTypeDef sBreakDeadTimeConfig = {0};

  htim1.Instance = TIM1;
  htim1.Init.Prescaler = 0;
  htim1.Init.CounterMode = TIM_COUNTERMODE_UP;
  htim1.Init.Period = 799;
  htim1.Init.ClockDivision = TIM_CLOCKDIVISION_DIV1;
  htim1.Init.RepetitionCounter = 91;
  htim1.Init.AutoReloadPreload = TIM_AUTORELOAD_PRELOAD_ENABLE;
  if (HAL_TIM_Base_Init(&htim1) != HAL_OK)
  {
    Error_Handler();
  }
  sClockSourceConfig.ClockSource = TIM_CLOCKSOURCE_INTERNAL;
  if (HAL_TIM_ConfigClockSource(&htim1, &sClockSourceConfig) != HAL_OK)
  {
    Error_Handler();
  }
  if (HAL_TIM_OC_Init(&htim1) != HAL_OK)
  {
    Error_Handler();
  }
  if (HAL_TIM_OnePulse_Init(&htim1, TIM_OPMODE_SINGLE) != HAL_OK)
  {
    Error_Handler();
  }
  sMasterConfig.MasterOutputTrigger = TIM_TRGO_ENABLE;
  sMasterConfig.MasterSlaveMode = TIM_MASTERSLAVEMODE_DISABLE;
  if (HAL_TIMEx_MasterConfigSynchronization(&htim1, &sMasterConfig) != HAL_OK)
  {
    Error_Handler();
  }
  sConfigOC.OCMode = TIM_OCMODE_TOGGLE;
  sConfigOC.Pulse = 0;
  sConfigOC.OCPolarity = TIM_OCPOLARITY_HIGH;
  sConfigOC.OCNPolarity = TIM_OCNPOLARITY_HIGH;
  sConfigOC.OCFastMode = TIM_OCFAST_DISABLE;
  sConfigOC.OCIdleState = TIM_OCIDLESTATE_RESET;
  sConfigOC.OCNIdleState = TIM_OCNIDLESTATE_RESET;
  if (HAL_TIM_OC_ConfigChannel(&htim1, &sConfigOC, TIM_CHANNEL_1) != HAL_OK)
  {
    Error_Handler();
  }
  __HAL_TIM_ENABLE_OCxPRELOAD(&htim1, TIM_CHANNEL_1);
  if (HAL_TIM_OC_ConfigChannel(&htim1, &sConfigOC, TIM_CHANNEL_2) != HAL_OK)
  {
    Error_Handler();
  }
  __HAL_TIM_ENABLE_OCxPRELOAD(&htim1, TIM_CHANNEL_2);
  if (HAL_TIM_OC_ConfigChannel(&htim1, &sConfigOC, TIM_CHANNEL_3) != HAL_OK)
  {
    Error_Handler();
  }
  if (HAL_TIM_OC_ConfigChannel(&htim1, &sConfigOC, TIM_CHANNEL_4) != HAL_OK)
  {
    Error_Handler();
  }
  __HAL_TIM_ENABLE_OCxPRELOAD(&htim1, TIM_CHANNEL_4);
  sBreakDeadTimeConfig.OffStateRunMode = TIM_OSSR_DISABLE;
  sBreakDeadTimeConfig.OffStateIDLEMode = TIM_OSSI_DISABLE;
  sBreakDeadTimeConfig.LockLevel = TIM_LOCKLEVEL_OFF;
  sBreakDeadTimeConfig.DeadTime = 0;
  sBreakDeadTimeConfig.BreakState = TIM_BREAK_DISABLE;
  sBreakDeadTimeConfig.BreakPolarity = TIM_BREAKPOLARITY_HIGH;
  sBreakDeadTimeConfig.AutomaticOutput = TIM_AUTOMATICOUTPUT_DISABLE;
  if (HAL_TIMEx_ConfigBreakDeadTime(&htim1, &sBreakDeadTimeConfig) != HAL_OK)
  {
    Error_Handler();
  }
  HAL_TIM_MspPostInit(&htim1);

}

static void MX_TIM2_Init(void)
{

  TIM_ClockConfigTypeDef sClockSourceConfig = {0};
  TIM_SlaveConfigTypeDef sSlaveConfig = {0};
  TIM_MasterConfigTypeDef sMasterConfig = {0};
  TIM_IC_InitTypeDef sConfigIC = {0};

  htim2.Instance = TIM2;
  htim2.Init.Prescaler = 0;
  htim2.Init.CounterMode = TIM_COUNTERMODE_UP;
  htim2.Init.Period = 65535;
  htim2.Init.ClockDivision = TIM_CLOCKDIVISION_DIV1;
  htim2.Init.AutoReloadPreload = TIM_AUTORELOAD_PRELOAD_ENABLE;
  if (HAL_TIM_Base_Init(&htim2) != HAL_OK)
  {
    Error_Handler();
  }
  sClockSourceConfig.ClockSource = TIM_CLOCKSOURCE_INTERNAL;
  if (HAL_TIM_ConfigClockSource(&htim2, &sClockSourceConfig) != HAL_OK)
  {
    Error_Handler();
  }
  if (HAL_TIM_IC_Init(&htim2) != HAL_OK)
  {
    Error_Handler();
  }
  sSlaveConfig.SlaveMode = TIM_SLAVEMODE_RESET;
  sSlaveConfig.InputTrigger = TIM_TS_ITR2;
  if (HAL_TIM_SlaveConfigSynchro(&htim2, &sSlaveConfig) != HAL_OK)
  {
    Error_Handler();
  }
  sMasterConfig.MasterOutputTrigger = TIM_TRGO_RESET;
  sMasterConfig.MasterSlaveMode = TIM_MASTERSLAVEMODE_DISABLE;
  if (HAL_TIMEx_MasterConfigSynchronization(&htim2, &sMasterConfig) != HAL_OK)
  {
    Error_Handler();
  }
  sConfigIC.ICPolarity = TIM_INPUTCHANNELPOLARITY_RISING;
  sConfigIC.ICSelection = TIM_ICSELECTION_DIRECTTI;
  sConfigIC.ICPrescaler = TIM_ICPSC_DIV1;
  sConfigIC.ICFilter = 0;
  if (HAL_TIM_IC_ConfigChannel(&htim2, &sConfigIC, TIM_CHANNEL_1) != HAL_OK)
  {
    Error_Handler();
  }
  sConfigIC.ICPolarity = TIM_INPUTCHANNELPOLARITY_FALLING;
  sConfigIC.ICSelection = TIM_ICSELECTION_INDIRECTTI;
  if (HAL_TIM_IC_ConfigChannel(&htim2, &sConfigIC, TIM_CHANNEL_2) != HAL_OK)
  {
    Error_Handler();
  }

}

static void MX_TIM3_Init(void)
{

  TIM_ClockConfigTypeDef sClockSourceConfig = {0};
  TIM_SlaveConfigTypeDef sSlaveConfig = {0};
  TIM_MasterConfigTypeDef sMasterConfig = {0};
  TIM_OC_InitTypeDef sConfigOC = {0};

  htim3.Instance = TIM3;
  htim3.Init.Prescaler = 0;
  htim3.Init.CounterMode = TIM_COUNTERMODE_UP;
  htim3.Init.Period = 40000;
  htim3.Init.ClockDivision = TIM_CLOCKDIVISION_DIV1;
  htim3.Init.AutoReloadPreload = TIM_AUTORELOAD_PRELOAD_ENABLE;
  if (HAL_TIM_Base_Init(&htim3) != HAL_OK)
  {
    Error_Handler();
  }
  sClockSourceConfig.ClockSource = TIM_CLOCKSOURCE_INTERNAL;
  if (HAL_TIM_ConfigClockSource(&htim3, &sClockSourceConfig) != HAL_OK)
  {
    Error_Handler();
  }
  if (HAL_TIM_OC_Init(&htim3) != HAL_OK)
  {
    Error_Handler();
  }
  if (HAL_TIM_OnePulse_Init(&htim3, TIM_OPMODE_SINGLE) != HAL_OK)
  {
    Error_Handler();
  }
  sSlaveConfig.SlaveMode = TIM_SLAVEMODE_TRIGGER;
  sSlaveConfig.InputTrigger = TIM_TS_ITR0;
  if (HAL_TIM_SlaveConfigSynchro(&htim3, &sSlaveConfig) != HAL_OK)
  {
    Error_Handler();
  }
  sMasterConfig.MasterOutputTrigger = TIM_TRGO_OC1;
  sMasterConfig.MasterSlaveMode = TIM_MASTERSLAVEMODE_DISABLE;
  if (HAL_TIMEx_MasterConfigSynchronization(&htim3, &sMasterConfig) != HAL_OK)
  {
    Error_Handler();
  }
  sConfigOC.OCMode = TIM_OCMODE_ACTIVE;
  sConfigOC.Pulse = 0;
  sConfigOC.OCPolarity = TIM_OCPOLARITY_HIGH;
  sConfigOC.OCFastMode = TIM_OCFAST_DISABLE;
  if (HAL_TIM_OC_ConfigChannel(&htim3, &sConfigOC, TIM_CHANNEL_1) != HAL_OK)
  {
    Error_Handler();
  }

}

static void MX_TIM4_Init(void)
{

  TIM_ClockConfigTypeDef sClockSourceConfig = {0};
  TIM_MasterConfigTypeDef sMasterConfig = {0};

  htim4.Instance = TIM4;
  htim4.Init.Prescaler = 6;
  htim4.Init.CounterMode = TIM_COUNTERMODE_UP;
  htim4.Init.Period = 65535;
  htim4.Init.ClockDivision = TIM_CLOCKDIVISION_DIV1;
  htim4.Init.AutoReloadPreload = TIM_AUTORELOAD_PRELOAD_ENABLE;
  if (HAL_TIM_Base_Init(&htim4) != HAL_OK)
  {
    Error_Handler();
  }
  sClockSourceConfig.ClockSource = TIM_CLOCKSOURCE_INTERNAL;
  if (HAL_TIM_ConfigClockSource(&htim4, &sClockSourceConfig) != HAL_OK)
  {
    Error_Handler();
  }
  sMasterConfig.MasterOutputTrigger = TIM_TRGO_UPDATE;
  sMasterConfig.MasterSlaveMode = TIM_MASTERSLAVEMODE_DISABLE;
  if (HAL_TIMEx_MasterConfigSynchronization(&htim4, &sMasterConfig) != HAL_OK)
  {
    Error_Handler();
  }

}

static void MX_USART1_UART_Init(void)
{

  huart1.Instance = USART1;
  huart1.Init.BaudRate = 115200;
  huart1.Init.WordLength = UART_WORDLENGTH_8B;
  huart1.Init.StopBits = UART_STOPBITS_1;
  huart1.Init.Parity = UART_PARITY_NONE;
  huart1.Init.Mode = UART_MODE_TX_RX;
  huart1.Init.HwFlowCtl = UART_HWCONTROL_NONE;
  huart1.Init.OverSampling = UART_OVERSAMPLING_16;
  if (HAL_UART_Init(&huart1) != HAL_OK)
  {
    Error_Handler();
  }

}

static void MX_GPIO_Init(void)
{
  GPIO_InitTypeDef GPIO_InitStruct = {0};

  /* GPIO Ports Clock Enable */
  __HAL_RCC_GPIOD_CLK_ENABLE();
  __HAL_RCC_GPIOA_CLK_ENABLE();
  __HAL_RCC_GPIOB_CLK_ENABLE();

  /*Configure GPIO pin Output Level */
  HAL_GPIO_WritePin(GPIOA, TP_Pin|LED_Pin|nRst_Pin, GPIO_PIN_RESET);

  /*Configure GPIO pin Output Level */
  HAL_GPIO_WritePin(GPIOB, Z1_Pin|Z2_Pin|SCSN_Pin|Z3_Pin
                          |Z4_Pin, GPIO_PIN_RESET);

  /*Configure GPIO pins : TP_Pin LED_Pin nRst_Pin */
  GPIO_InitStruct.Pin = TP_Pin|LED_Pin|nRst_Pin;
  GPIO_InitStruct.Mode = GPIO_MODE_OUTPUT_PP;
  GPIO_InitStruct.Pull = GPIO_NOPULL;
  GPIO_InitStruct.Speed = GPIO_SPEED_FREQ_LOW;
  HAL_GPIO_Init(GPIOA, &GPIO_InitStruct);

  /*Configure GPIO pins : Z1_Pin Z2_Pin SCSN_Pin Z3_Pin
                           Z4_Pin */
  GPIO_InitStruct.Pin = Z1_Pin|Z2_Pin|SCSN_Pin|Z3_Pin
                          |Z4_Pin;
  GPIO_InitStruct.Mode = GPIO_MODE_OUTPUT_PP;
  GPIO_InitStruct.Pull = GPIO_NOPULL;
  GPIO_InitStruct.Speed = GPIO_SPEED_FREQ_LOW;
  HAL_GPIO_Init(GPIOB, &GPIO_InitStruct);

}

/* USER CODE BEGIN 4 */
void HAL_TIM_IC_CaptureCallback(TIM_HandleTypeDef* htim) {
	if (runFlag > 0) {								// Разрешено измерение ?
		if ((htim->Instance == TIM2) && (htim->Channel == HAL_TIM_ACTIVE_CHANNEL_1 || htim->Channel == HAL_TIM_ACTIVE_CHANNEL_2)) {
			if ((runFlag < COUNT_FRONT) || (htim->Channel == HAL_TIM_ACTIVE_CHANNEL_1) ) {  // Ждем фронт первого импульса, дальше обрабатываем все импульсы.
				//LED_PULSE
				if (htim->Channel == HAL_TIM_ACTIVE_CHANNEL_1 ) {  // Активен фронт
					front_sum = front_sum + (HAL_TIM_ReadCapturedValue(&htim2, TIM_CHANNEL_1) & 0x0FFFF);
				} else {   // Активен спад
					front_sum = front_sum + (HAL_TIM_ReadCapturedValue(&htim2, TIM_CHANNEL_2) & 0x0FFFF);
				}
				runFlag--;
				if (runFlag == 0) {  // Измерения закончены ?
					//LED_PULSE
					STOP_CAPTURE  // Таймер больше не нужен, выключаем
					front_sum = front_sum / COUNT_FRONT - (TIM1_PERIOD * (COUNT_FRONT - 1) / 2);  // Расчитываем задержку от средины импульсов
					if (front_sum > CALIBRATE_MAX_COUNT) {		// Ошибка измерения.
						front_sum = CALIBRATE_MAX_COUNT;		// Значение необходимое для калибровки.
					}
					/* Turn off all multiplexer */
					GPIOB->ODR |= ((1 << Z1Receive) | (1 << Z2Receive) | (1 << Z3Receive) | (1 << Z4Receive));
					switch (currentMode) {
						case 1: { // Z1 > Z3, Z13
							resul_arrayY1[measCount] = front_sum;
							break;
						}
						case 2: { // Z3 > Z1, Z31
							resul_arrayY2[measCount] = front_sum;
							break;
						}
						case 3: { // Z2 > Z4 Z24
							resul_arrayX1[measCount] = front_sum;
							break;
						}
						case 4: { // Z4 > Z2 Z42
							resul_arrayX2[measCount] = front_sum;
							break;
						}
					}
				}
			}
		}
	}
}
/* USER CODE END 4 */

void Error_Handler(void)
{
  __disable_irq();
  while (1)
  {
  }
}

/************************ (C) COPYRIGHT STMicroelectronics *****END OF FILE****/
